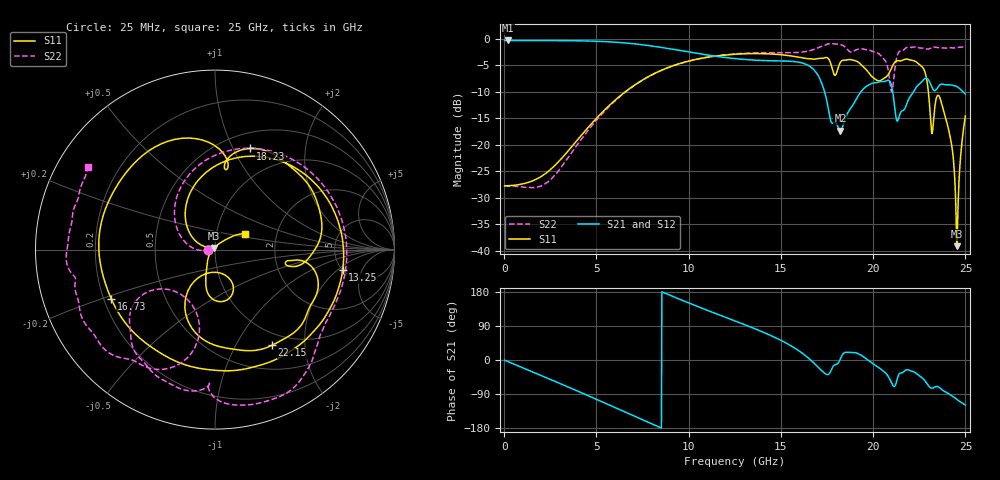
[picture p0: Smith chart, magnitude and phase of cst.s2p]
! BV_vna_clk_w5: /FPGA/FPGA_CLK_R via F.Cu→In3.Cu at (180.401, 101.754)
! stackup: VNA from the board file and its kisi.json
! ports: 1 in, 2 out
! CST Studio Suite 2025.5 Release from 2025-05-30, time domain (FIT, hexahedral, PBA), 289248 mesh cells, 130 s
! mesh: {'lpw': 20, 'lpb': 20, 'minstep': 0.0, 'ratio': 20}; ports: port 1 (face); port 2 (face)
! interpolated from CST's 1001 samples to the case grid
# Hz S RI R 50
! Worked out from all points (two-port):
!   1000 points, 25 MHz to 25 GHz, reference 50 ohm
!   highest |S21| = -0.36 dB at 200 MHz (marker M1); lowest = -17.4 dB at 18.23 GHz (marker M2)
!   |S21| within 3 dB of the highest: start of sweep to 11.52 GHz
!   lowest |S11| = -39.1 dB at 24.55 GHz (marker M3), VSWR 1.02, Z = 49.5 + j0.972 ohm
!   |S11| at or under -10 dB: start of sweep to 6.58 GHz; 22.99 GHz to end of sweep
!   |S22| runs from -28.1 to -1.0 dB; largest |S21 - S12| = 0.0032
!   S11 on the Smith chart (normalised r, x): 25 MHz: 0.92, +0.00; 13.25 GHz: 4.98, -2.37; 16.73 GHz: 0.23, -0.21; 18.23 GHz: 0.67, +1.17; 22.15 GHz: 0.82, -1.42; 25 GHz: 1.37, +0.25
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2.5e7  -0.0409 0.000241  0.959 -0.00852  0.9591 -0.00854  -0.041 0.000232
2e8  -0.0409 0.00184  0.9567 -0.0681  0.9566 -0.0682  -0.0407 0.00158
4.2e9  -0.1119 0.0517  0.0559 -0.9492  0.0559 -0.9492  -0.1134 0.00394
6.525e9  -0.156 0.269  -0.6618 -0.6238  -0.6618 -0.6238  -0.2261 0.2088
8.35e9  0.0386 0.4848  -0.831 -0.0601  -0.8311 -0.0601  -0.0779 0.4796
1.2525e10  0.7079 0.0723  -0.1439 0.6305  -0.1438 0.6302  0.6731 0.2484
1.325e10  0.7109 -0.1144  0.00995 0.6304  0.0101 0.6306  0.722 0.1018
1.56e10  0.1301 -0.6713  0.4927 0.358  0.4927 0.3574  0.6467 -0.3506
1.6675e10  -0.5559 -0.3199  0.5288 -0.0267  0.5286 -0.0259  0.5701 -0.5296
1.6725e10  -0.5783 -0.2734  0.5179 -0.0462  0.5182 -0.0455  0.5662 -0.5402
1.75e10  -0.3005 0.589  0.198 -0.1569  0.1974 -0.1567  0.4439 -0.7643
1.8225e10  0.196 0.5637  0.135 0.00657  0.1346 0.00595  0.1316 -0.8665
1.9025e10  0.5895 0.188  0.2425 0.0855  0.2438 0.0839  -0.0533 -0.7716
2.085e10  0.463 -0.0581  0.2812 -0.2899  0.2823 -0.2922  -0.3929 -0.2446
2.1175e10  0.5738 -0.1701  0.0787 -0.2071  0.0773 -0.207  -0.0952 -0.5041
2.215e10  0.3184 -0.5328  0.264 -0.1552  0.2632 -0.1579  -0.695 -0.4477
2.28e10  -0.0924 -0.4794  0.2444 -0.3416  0.2443 -0.3395  -0.7804 -0.201
2.3175e10  -0.0169 -0.1266  0.0943 -0.3372  0.0938 -0.3344  -0.8136 -0.1097
2.37e10  -0.0392 -0.2451  0.0829 -0.3621  0.0841 -0.362  -0.8131 0.0894
2.4225e10  -0.0452 -0.0964  -0.021 -0.3642  -0.0188 -0.3646  -0.7785 0.2475
2.455e10  -0.00503 0.00982  -0.0874 -0.3406  -0.0857 -0.3389  -0.7528 0.3333
2.5e10  0.1644 0.088  -0.1438 -0.2621  -0.1423 -0.2612  -0.7057 0.4629
